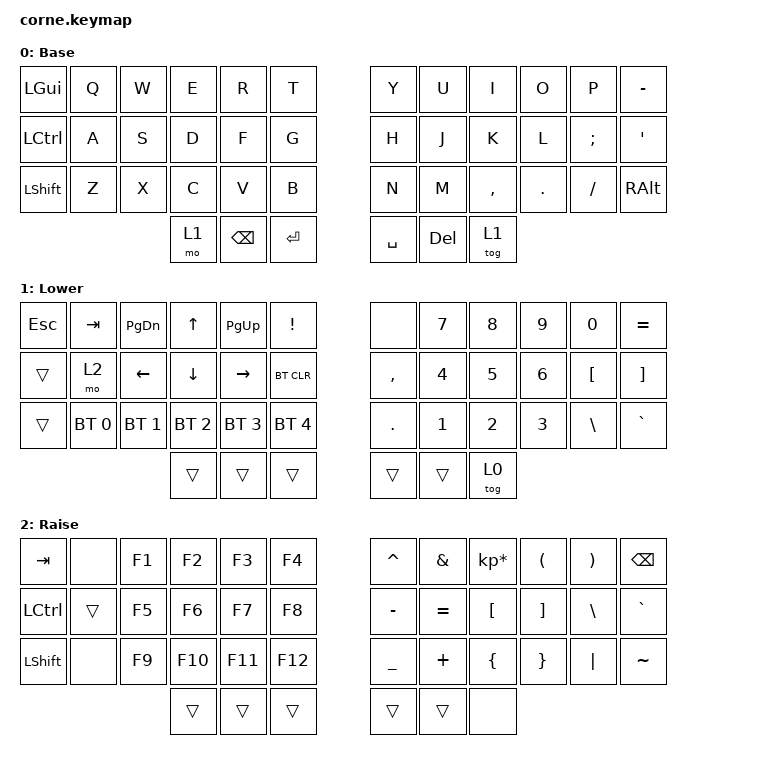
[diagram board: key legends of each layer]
/*
 * Copyright (c) 2020 The ZMK Contributors
 *
 * SPDX-License-Identifier: MIT
 */

#include <behaviors.dtsi>
#include <dt-bindings/zmk/bt.h>
#include <dt-bindings/zmk/keys.h>

/ {
    keymap {
        compatible = "zmk,keymap";

        default_layer {
            // -----------------------------------------------------------------------------------------
            // |  TAB |  Q  |  W  |  E  |  R  |  T  |   |  Y  |  U   |  I  |  O  |  P  | BKSP |
            // | CTRL |  A  |  S  |  D  |  F  |  G  |   |  H  |  J   |  K  |  L  |  ;  |  '   |
            // | SHFT |  Z  |  X  |  C  |  V  |  B  |   |  N  |  M   |  ,  |  .  |  /  | ESC  |
            //                    | GUI | LWR | SPC |   | ENT | RSE  | ALT |

            display-name = "Base";
            bindings = <
&kp LEFT_GUI  &kp Q  &kp W  &kp E  &kp R          &kp T      &kp Y      &kp U       &kp I      &kp O    &kp P     &kp MINUS
&kp LCTRL     &kp A  &kp S  &kp D  &kp F          &kp G      &kp H      &kp J       &kp K      &kp L    &kp SEMI  &kp SQT
&kp LSHFT     &kp Z  &kp X  &kp C  &kp V          &kp B      &kp N      &kp M       &kp COMMA  &kp DOT  &kp FSLH  &kp RIGHT_ALT
                            &mo 1  &kp BACKSPACE  &kp RET    &kp SPACE  &kp DELETE  &tog 1
            >;
        };

        lower_layer {
            // -----------------------------------------------------------------------------------------
            // |  TAB |  1  |  2  |  3  |  4  |  5  |   |  6  |  7  |  8  |  9  |  0  | BKSP |
            // | BTCLR| BT1 | BT2 | BT3 | BT4 | BT5 |   | LFT | DWN |  UP | RGT |     |      |
            // | SHFT |     |     |     |     |     |   |     |     |     |     |     |      |
            //                    | GUI |     | SPC |   | ENT |     | ALT |

            display-name = "Lower";
            bindings = <
&kp ESCAPE  &kp TAB       &kp PAGE_DOWN  &kp UP_ARROW  &kp PAGE_UP   &kp EXCL        &none       &kp N7        &kp N8        &kp N9        &kp N0         &kp EQUAL
&trans      &mo 2         &kp LEFT       &kp DOWN      &kp RIGHT     &bt BT_CLR      &kp COMMA   &kp NUMBER_4  &kp N5        &kp NUMBER_6  &kp LBKT       &kp RBKT
&trans      &bt BT_SEL 0  &bt BT_SEL 1   &bt BT_SEL 2  &bt BT_SEL 3  &bt BT_SEL 4    &kp PERIOD  &kp NUMBER_1  &kp NUMBER_2  &kp NUMBER_3  &kp BACKSLASH  &kp GRAVE
                                         &trans        &trans        &trans          &trans      &trans        &tog 0
            >;
        };

        raise_layer {
            // -----------------------------------------------------------------------------------------
            // |  TAB |  !  |  @  |  #  |  $  |  %  |   |  ^  |  &  |  *  |  (  |  )  | BKSP |
            // | CTRL |     |     |     |     |     |   |  -  |  =  |  [  |  ]  |  \  |  `   |
            // | SHFT |     |     |     |     |     |   |  _  |  +  |  {  |  }  | "|" |  ~   |
            //                    | GUI |     | SPC |   | ENT |     | ALT |

            display-name = "Raise";
            bindings = <
&kp TAB    &none   &kp F1  &kp F2   &kp F3   &kp F4     &kp CARET  &kp AMPS   &kp KP_MULTIPLY  &kp LPAR  &kp RPAR  &kp BSPC
&kp LCTRL  &trans  &kp F5  &kp F6   &kp F7   &kp F8     &kp MINUS  &kp EQUAL  &kp LBKT         &kp RBKT  &kp BSLH  &kp GRAVE
&kp LSHFT  &none   &kp F9  &kp F10  &kp F11  &kp F12    &kp UNDER  &kp PLUS   &kp LBRC         &kp RBRC  &kp PIPE  &kp TILDE
                           &trans   &trans   &trans     &trans     &trans     &none
            >;
        };

        extra_1 { status = "reserved"; };

        extra_2 { status = "reserved"; };

        extra_3 { status = "reserved"; };
    };
};
